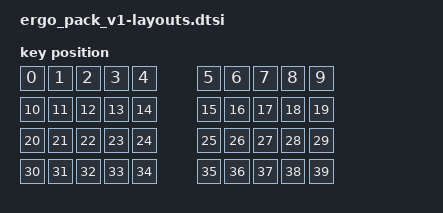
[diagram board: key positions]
/*
 * Physical layout for a 10x4 ortho-style split grid (five columns per PCB half).
 */

#include <physical_layouts.dtsi>

/ {
    physical_layout0: physical_layout_0 {
        compatible = "zmk,physical-layout";
        display-name = "Default";

        /* Keys in row-major order RC(r,c), r = 0..3, c = 0..9 */
        keys  //                             w    h      x       y rot rx ry
            = <&key_physical_attrs 56 56    0     0  0 0 0 >
            , <&key_physical_attrs 56 56   56     0  0 0 0 >
            , <&key_physical_attrs 56 56  112     0  0 0 0 >
            , <&key_physical_attrs 56 56  168     0  0 0 0 >
            , <&key_physical_attrs 56 56  224     0  0 0 0 >
            , <&key_physical_attrs 56 56  354     0  0 0 0 >
            , <&key_physical_attrs 56 56  410     0  0 0 0 >
            , <&key_physical_attrs 56 56  466     0  0 0 0 >
            , <&key_physical_attrs 56 56  522     0  0 0 0 >
            , <&key_physical_attrs 56 56  578     0  0 0 0 >
            , <&key_physical_attrs 56 56    0    62  0 0 0 >
            , <&key_physical_attrs 56 56   56    62  0 0 0 >
            , <&key_physical_attrs 56 56  112    62  0 0 0 >
            , <&key_physical_attrs 56 56  168    62  0 0 0 >
            , <&key_physical_attrs 56 56  224    62  0 0 0 >
            , <&key_physical_attrs 56 56  354    62  0 0 0 >
            , <&key_physical_attrs 56 56  410    62  0 0 0 >
            , <&key_physical_attrs 56 56  466    62  0 0 0 >
            , <&key_physical_attrs 56 56  522    62  0 0 0 >
            , <&key_physical_attrs 56 56  578    62  0 0 0 >
            , <&key_physical_attrs 56 56    0   124  0 0 0 >
            , <&key_physical_attrs 56 56   56   124  0 0 0 >
            , <&key_physical_attrs 56 56  112   124  0 0 0 >
            , <&key_physical_attrs 56 56  168   124  0 0 0 >
            , <&key_physical_attrs 56 56  224   124  0 0 0 >
            , <&key_physical_attrs 56 56  354   124  0 0 0 >
            , <&key_physical_attrs 56 56  410   124  0 0 0 >
            , <&key_physical_attrs 56 56  466   124  0 0 0 >
            , <&key_physical_attrs 56 56  522   124  0 0 0 >
            , <&key_physical_attrs 56 56  578   124  0 0 0 >
            , <&key_physical_attrs 56 56    0   186  0 0 0 >
            , <&key_physical_attrs 56 56   56   186  0 0 0 >
            , <&key_physical_attrs 56 56  112   186  0 0 0 >
            , <&key_physical_attrs 56 56  168   186  0 0 0 >
            , <&key_physical_attrs 56 56  224   186  0 0 0 >
            , <&key_physical_attrs 56 56  354   186  0 0 0 >
            , <&key_physical_attrs 56 56  410   186  0 0 0 >
            , <&key_physical_attrs 56 56  466   186  0 0 0 >
            , <&key_physical_attrs 56 56  522   186  0 0 0 >
            , <&key_physical_attrs 56 56  578   186  0 0 0 >
            ;
    };
};
